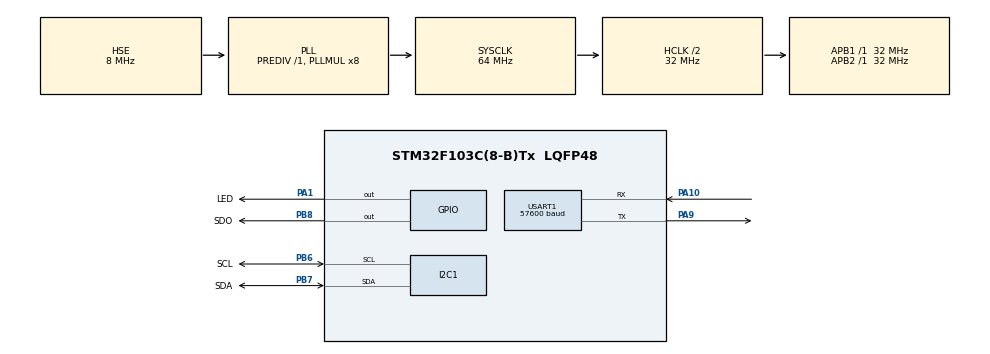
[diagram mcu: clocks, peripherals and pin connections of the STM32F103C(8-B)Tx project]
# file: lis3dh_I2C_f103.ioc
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I2C1.I2C_Mode=I2C_Fast
I2C1.OwnAddress=0x15
Mcu.Family=STM32F1
Mcu.Name=STM32F103C(8-B)Tx
Mcu.Package=LQFP48
NVIC.PriorityGroup=NVIC_PRIORITYGROUP_4
PA1.GPIO_Label=LED
PA1.Signal=GPIO_Output
PA10.Mode=Asynchronous
PA10.Signal=USART1_RX
PA13.Mode=Serial_Wire
PA13.Signal=SYS_JTMS-SWDIO
PA14.Mode=Serial_Wire
PA14.Signal=SYS_JTCK-SWCLK
PA9.Mode=Asynchronous
PA9.Signal=USART1_TX
PB6.GPIO_Label=SCL
PB6.Mode=I2C
PB6.Signal=I2C1_SCL
PB7.GPIO_Label=SDA
PB7.Mode=I2C
PB7.Signal=I2C1_SDA
PB8.GPIO_Label=SDO
PB8.Signal=GPIO_Output
PD0-OSC_IN.Mode=HSE-External-Oscillator
PD0-OSC_IN.Signal=RCC_OSC_IN
PD1-OSC_OUT.Mode=HSE-External-Oscillator
PD1-OSC_OUT.Signal=RCC_OSC_OUT
ProjectManager.HeapSize=0x200
ProjectManager.StackSize=0x400
ProjectManager.TargetToolchain=STM32CubeIDE
RCC.AHBCLKDivider=RCC_SYSCLK_DIV2
RCC.AHBFreq_Value=32000000
RCC.APB1Freq_Value=32000000
RCC.APB1TimFreq_Value=32000000
RCC.APB2Freq_Value=32000000
RCC.APB2TimFreq_Value=32000000
RCC.HCLKFreq_Value=32000000
RCC.PLLMUL=RCC_PLL_MUL8
RCC.PLLSourceVirtual=RCC_PLLSOURCE_HSE
RCC.SYSCLKFreq_VALUE=64000000
RCC.SYSCLKSource=RCC_SYSCLKSOURCE_PLLCLK
RCC.USBFreq_Value=64000000
USART1.BaudRate=57600
USART1.VirtualMode=VM_ASYNC
board=custom

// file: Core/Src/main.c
/* USER CODE BEGIN Header */
/**
  ******************************************************************************
  * @file           : main.c
  * @brief          : Main program body
  ******************************************************************************
  * @attention
  *
  * <h2><center>&copy; Copyright (c) 2021 STMicroelectronics.
  * All rights reserved.</center></h2>
  *
  * This software component is licensed by ST under BSD 3-Clause license,
  * the "License"; You may not use this file except in compliance with the
  * License. You may obtain a copy of the License at:
  *                        opensource.org/licenses/BSD-3-Clause
  *
  ******************************************************************************
  */
/* USER CODE END Header */

#include "main.h"

/* USER CODE BEGIN Includes */
#include "stdio.h"
#include "stdlib.h"
#include "string.h"
/* USER CODE END Includes */

I2C_HandleTypeDef hi2c1;

UART_HandleTypeDef huart1;

/* USER CODE BEGIN PV */

#define msg_SIZE 50  //размер массива длЯ формированиЯ сообщений длЯ отправки по UART
static char UART_msg_TX [msg_SIZE]; // массив для формирования сообщений для вывода по UART

#define DELAY 500 //задержка

char OUT_XYZ[6]; // массив данных с акселерометра
uint8_t status = 0;
uint8_t status_XYZ = 0;
uint8_t regAddress = 0; //буфер с адресом регистра
uint8_t data = 0; //буфер с данными

#define I2C_TIMEOUT 10 //величина таймаута в мс, по истечении которого функция выдаст ошибку и прекратит выполнение
/* USER CODE END PV */

void SystemClock_Config(void);
static void MX_GPIO_Init(void);
static void MX_I2C1_Init(void);
static void MX_USART1_UART_Init(void);
/* USER CODE BEGIN PFP */

void LIS3DH_init();
void I2C1_write_byte(uint8_t adress, uint8_t data);
uint8_t I2C1_read_byte(uint8_t adress);
void I2C1_read_array(uint8_t adress, char *data, uint8_t data_len);

/* USER CODE END PFP */

int main(void)
{

  /* MCU Configuration--------------------------------------------------------*/

  /* Reset of all peripherals, Initializes the Flash interface and the Systick. */
  HAL_Init();

  /* Configure the system clock */
  SystemClock_Config();

  /* Initialize all configured peripherals */
  MX_GPIO_Init();
  MX_I2C1_Init();
  MX_USART1_UART_Init();
  /* USER CODE BEGIN 2 */
  HAL_GPIO_WritePin(SDO_GPIO_Port, SDO_Pin, DISABLE);
  HAL_GPIO_WritePin(LED_GPIO_Port, LED_Pin, ENABLE);
  sprintf (UART_msg_TX,"lis3dsh_start\r\n");
  HAL_UART_Transmit (&huart1, &UART_msg_TX, strlen(UART_msg_TX), 0x1000);
  regAddress  = LIS3DSH_REG_WHOAMI;
  HAL_I2C_Master_Transmit(&hi2c1, (LIS3DSH_I2C_ADDRESS << 1), &regAddress, 1,  I2C_TIMEOUT);
  HAL_I2C_Master_Receive(&hi2c1, (LIS3DSH_I2C_ADDRESS << 1), &status, 1,  I2C_TIMEOUT);

  sprintf (UART_msg_TX,"Who_I_am=%x\r\n", status);
  HAL_UART_Transmit (&huart1, &UART_msg_TX, strlen(UART_msg_TX), 0x1000);

  LIS3DH_init();

  HAL_Delay (DELAY);

  /* USER CODE END 2 */

  /* Infinite loop */
  while (1)
  {
    /* USER CODE BEGIN 3 */
	regAddress  = LIS3DSH_CTRL_REG4;
	HAL_I2C_Master_Transmit(&hi2c1, (LIS3DSH_I2C_ADDRESS << 1), &regAddress, 1,  I2C_TIMEOUT);
	HAL_I2C_Master_Receive(&hi2c1, (LIS3DSH_I2C_ADDRESS << 1), &status, 1,  I2C_TIMEOUT);
	sprintf (UART_msg_TX,"Who_I_am=%x\r\n", status);
	HAL_UART_Transmit (&huart1, &UART_msg_TX, strlen(UART_msg_TX), 0x1000);
	HAL_GPIO_TogglePin (LED_GPIO_Port, LED_Pin);

	HAL_Delay (DELAY);

  }
  /* USER CODE END 3 */
}

void SystemClock_Config(void)
{
  RCC_OscInitTypeDef RCC_OscInitStruct = {0};
  RCC_ClkInitTypeDef RCC_ClkInitStruct = {0};

  /** Initializes the CPU, AHB and APB busses clocks
  */
  RCC_OscInitStruct.OscillatorType = RCC_OSCILLATORTYPE_HSE;
  RCC_OscInitStruct.HSEState = RCC_HSE_ON;
  RCC_OscInitStruct.HSEPredivValue = RCC_HSE_PREDIV_DIV1;
  RCC_OscInitStruct.HSIState = RCC_HSI_ON;
  RCC_OscInitStruct.PLL.PLLState = RCC_PLL_ON;
  RCC_OscInitStruct.PLL.PLLSource = RCC_PLLSOURCE_HSE;
  RCC_OscInitStruct.PLL.PLLMUL = RCC_PLL_MUL8;
  if (HAL_RCC_OscConfig(&RCC_OscInitStruct) != HAL_OK)
  {
    Error_Handler();
  }
  /** Initializes the CPU, AHB and APB busses clocks
  */
  RCC_ClkInitStruct.ClockType = RCC_CLOCKTYPE_HCLK|RCC_CLOCKTYPE_SYSCLK
                              |RCC_CLOCKTYPE_PCLK1|RCC_CLOCKTYPE_PCLK2;
  RCC_ClkInitStruct.SYSCLKSource = RCC_SYSCLKSOURCE_PLLCLK;
  RCC_ClkInitStruct.AHBCLKDivider = RCC_SYSCLK_DIV2;
  RCC_ClkInitStruct.APB1CLKDivider = RCC_HCLK_DIV1;
  RCC_ClkInitStruct.APB2CLKDivider = RCC_HCLK_DIV1;

  if (HAL_RCC_ClockConfig(&RCC_ClkInitStruct, FLASH_LATENCY_2) != HAL_OK)
  {
    Error_Handler();
  }
}

static void MX_I2C1_Init(void)
{

  hi2c1.Instance = I2C1;
  hi2c1.Init.ClockSpeed = 400000;
  hi2c1.Init.DutyCycle = I2C_DUTYCYCLE_2;
  hi2c1.Init.OwnAddress1 = 42;
  hi2c1.Init.AddressingMode = I2C_ADDRESSINGMODE_7BIT;
  hi2c1.Init.DualAddressMode = I2C_DUALADDRESS_DISABLE;
  hi2c1.Init.OwnAddress2 = 0;
  hi2c1.Init.GeneralCallMode = I2C_GENERALCALL_DISABLE;
  hi2c1.Init.NoStretchMode = I2C_NOSTRETCH_DISABLE;
  if (HAL_I2C_Init(&hi2c1) != HAL_OK)
  {
    Error_Handler();
  }

}

static void MX_USART1_UART_Init(void)
{

  huart1.Instance = USART1;
  huart1.Init.BaudRate = 57600;
  huart1.Init.WordLength = UART_WORDLENGTH_8B;
  huart1.Init.StopBits = UART_STOPBITS_1;
  huart1.Init.Parity = UART_PARITY_NONE;
  huart1.Init.Mode = UART_MODE_TX_RX;
  huart1.Init.HwFlowCtl = UART_HWCONTROL_NONE;
  huart1.Init.OverSampling = UART_OVERSAMPLING_16;
  if (HAL_UART_Init(&huart1) != HAL_OK)
  {
    Error_Handler();
  }

}

static void MX_GPIO_Init(void)
{
  GPIO_InitTypeDef GPIO_InitStruct = {0};

  /* GPIO Ports Clock Enable */
  __HAL_RCC_GPIOD_CLK_ENABLE();
  __HAL_RCC_GPIOA_CLK_ENABLE();
  __HAL_RCC_GPIOB_CLK_ENABLE();

  /*Configure GPIO pin Output Level */
  HAL_GPIO_WritePin(LED_GPIO_Port, LED_Pin, GPIO_PIN_RESET);

  /*Configure GPIO pin Output Level */
  HAL_GPIO_WritePin(SDO_GPIO_Port, SDO_Pin, GPIO_PIN_RESET);

  /*Configure GPIO pin : LED_Pin */
  GPIO_InitStruct.Pin = LED_Pin;
  GPIO_InitStruct.Mode = GPIO_MODE_OUTPUT_PP;
  GPIO_InitStruct.Pull = GPIO_NOPULL;
  GPIO_InitStruct.Speed = GPIO_SPEED_FREQ_LOW;
  HAL_GPIO_Init(LED_GPIO_Port, &GPIO_InitStruct);

  /*Configure GPIO pin : SDO_Pin */
  GPIO_InitStruct.Pin = SDO_Pin;
  GPIO_InitStruct.Mode = GPIO_MODE_OUTPUT_PP;
  GPIO_InitStruct.Pull = GPIO_NOPULL;
  GPIO_InitStruct.Speed = GPIO_SPEED_FREQ_LOW;
  HAL_GPIO_Init(SDO_GPIO_Port, &GPIO_InitStruct);

}

/* USER CODE BEGIN 4 */
//---------------------ф-я инициализации датчика LIS3DH----------------------------//
void LIS3DH_init()
	{
	// настройка акселерометра
	/*regAddress  = LIS3DSH_CTRL_REG4;
	HAL_I2C_Master_Transmit(&hi2c1, (LIS3DSH_I2C_ADDRESS << 1), &regAddress, 1,  I2C_TIMEOUT);
	data = LIS3DSH_F_3HZ_NORMAL;
	HAL_I2C_Master_Transmit(&hi2c1, (LIS3DSH_I2C_ADDRESS << 1), &data, 1,  I2C_TIMEOUT);*/
	HAL_I2C_Mem_Write(&hi2c1, LIS3DSH_I2C_ADDRESS << 1),LIS3DSH_CTRL_REG4, uint16_t MemAddSize, uint8_t *pData, 1, I2C_TIMEOUT);
	regAddress  = LIS3DSH_CTRL_REG3;
	HAL_I2C_Master_Transmit(&hi2c1, (LIS3DSH_I2C_ADDRESS << 1), &regAddress, 1,  I2C_TIMEOUT);
	data = 0x88;
	HAL_I2C_Master_Transmit(&hi2c1, (LIS3DSH_I2C_ADDRESS << 1), &data, 1,  I2C_TIMEOUT); //"0b10001000" сигнал готовности на INT1, сигнал готовности на INT1 - активный "0"
	regAddress  = LIS3DSH_CTRL_REG5;
	HAL_I2C_Master_Transmit(&hi2c1, (LIS3DSH_I2C_ADDRESS << 1), &regAddress, 1,  I2C_TIMEOUT);
	data = 0x18;
	HAL_I2C_Master_Transmit(&hi2c1, (LIS3DSH_I2C_ADDRESS << 1), &data, 1,  I2C_TIMEOUT); //"0b00011000" измеряемый диапазон +-8g
	regAddress  = LIS3DSH_CTRL_REG6;
	HAL_I2C_Master_Transmit(&hi2c1, (LIS3DSH_I2C_ADDRESS << 1), &regAddress, 1,  I2C_TIMEOUT);
	data = 0x10;
	HAL_I2C_Master_Transmit(&hi2c1, (LIS3DSH_I2C_ADDRESS << 1), &data, 1,  I2C_TIMEOUT); //включим инкремент адресов регистров
	}

// -----------------------------------I2C1 - запись байта данных-----------------------------------------//
/*void I2C1_write_byte(uint8_t adress, uint8_t data)
	{
	SET_BIT (I2C1->CR1, I2C_CR1_START); // Условие "Start"
	while(!READ_BIT(I2C1->SR1, I2C_SR1_SB)) {}; // ожидаем выполнения операции
	WRITE_REG (I2C1->DR, ((LIS3DSH_I2C_ADDRESS<<1) + I2C_WR)); // записываем адрес устройства и операцию записи
	while(!READ_BIT(I2C1->SR1, I2C_SR1_ADDR)) {}; // ожидаем выполнения операции
	(void)I2C1->SR2;
	(void)I2C1->SR1; // сбросим флаг ADDR
	WRITE_REG (I2C1->DR, adress); // записываем адрес ячейки
	while(!READ_BIT (I2C1->SR1, I2C_SR1_BTF)) {}; // ожидаем выполнения операции
	WRITE_REG (I2C1->DR, data); // записываем данные
	while(!READ_BIT (I2C1->SR1, I2C_SR1_BTF)) {}; // ожидаем выполнения операции
	SET_BIT (I2C1->CR1, I2C_CR1_STOP); // Условие "Stop"
	}

//------------------------------I2C1 - чтение одиного байта данных------------------------------------------//

uint8_t I2C1_read_byte(uint8_t adress) // адрес данных
	{
	uint8_t data_I2C;
	SET_BIT (I2C1->CR1, I2C_CR1_ACK); //передавать бит подтверждения ACK
	SET_BIT (I2C1->CR1, I2C_CR1_START); // Условие "Start"
	while(!READ_BIT(I2C1->SR1, I2C_SR1_SB)) {}; // ожидаем выполнения операции
	WRITE_REG (I2C1->DR, ((LIS3DSH_I2C_ADDRESS<<1) + I2C_WR)); // записываем адрес устройства и операцию записи
	while(!READ_BIT(I2C1->SR1, I2C_SR1_ADDR)) {}; // ожидаем выполнения операции
	(void)I2C1->SR2;
	(void)I2C1->SR1; // сбросим флаг ADDR
	WRITE_REG (I2C1->DR, adress); // записываем адрес ячейки
	while(!READ_BIT (I2C1->SR1, I2C_SR1_BTF)) {}; // ожидаем выполнения операции
	SET_BIT (I2C1->CR1, I2C_CR1_START); // Условие повторный "Start"
	while(!READ_BIT(I2C1->SR1, I2C_SR1_SB)) {}; // ожидаем выполнения операции
	WRITE_REG (I2C1->DR, ((LIS3DSH_I2C_ADDRESS<<1) + I2C_RD)); // записываем адрес устройства и операцию чтения
	while(!READ_BIT(I2C1->SR1, I2C_SR1_ADDR)) {}; // ожидаем выполнения операции
	(void)I2C1->SR1;
	(void)I2C1->SR2; // сбросим флаг ADDR
	while(!READ_BIT (I2C1->SR1, I2C_SR1_RXNE)) {} // ожидание приема данных
	CLEAR_BIT (I2C1->CR1, I2C_CR1_ACK);  //отправим сигнал NACK
	SET_BIT (I2C1->CR1, I2C_CR1_STOP); // Условие "Stop"
	return data_I2C = I2C1->DR;
	}

//------------------------------------------I2C1 - чтение нескольких байт данных-------------------------------------------------//

void I2C1_read_array(uint8_t adress, char *data, uint8_t data_len)  //data_len - количество байт необходимых получить
	{
	SET_BIT (I2C1->CR1, I2C_CR1_ACK); // передавать бит подтверждения ACK
	SET_BIT (I2C1->CR1, I2C_CR1_START); // Условие "Start"
	while(!READ_BIT(I2C1->SR1, I2C_SR1_SB)) {}; // ожидаем выполнения операции "Start"
	WRITE_REG (I2C1->DR, ((LIS3DSH_I2C_ADDRESS<<1) + I2C_WR)); // записываем адрес устройства и операцию записи
	while(!READ_BIT(I2C1->SR1, I2C_SR1_ADDR)) {}; // ожидаем выполнения операции
	(void)I2C1->SR2;
	(void)I2C1->SR1; // сбросим флаг ADDR
	WRITE_REG (I2C1->DR, adress); // записываем адрес ячейки
	while(!READ_BIT(I2C1->SR1, I2C_SR1_BTF)) {}; // ожидаем выполнения операции
	SET_BIT (I2C1->CR1, I2C_CR1_START); // Условие повторный "Start"
	while(!READ_BIT(I2C1->SR1, I2C_SR1_SB)) {}; // ожидаем выполнения операции "Start"
	WRITE_REG (I2C1->DR, ((LIS3DSH_I2C_ADDRESS<<1) + I2C_RD)); // записываем адрес устройства и операцию чтения
	while(!READ_BIT(I2C1->SR1, I2C_SR1_ADDR)) {}; // ожидаем выполнения операции
	(void)I2C1->SR2;
	(void)I2C1->SR1; // сбросим флаг ADDR
	for(uint8_t i = 0; i < data_len; i++)
		{
		if(i == (data_len-1))
			{
			CLEAR_BIT (I2C1->CR1, I2C_CR1_ACK); //отправим сигнал NACK
			}
		while(!READ_BIT (I2C1->SR1, I2C_SR1_RXNE)) {}; // ожидание приема данных
		*data++ = I2C1->DR; // записываем данные в массив
		}
	SET_BIT (I2C1->CR1, I2C_CR1_STOP); // Условие "Stop"
	}
*/
/* USER CODE END 4 */

void Error_Handler(void)
{
}

/************************ (C) COPYRIGHT STMicroelectronics *****END OF FILE****/
